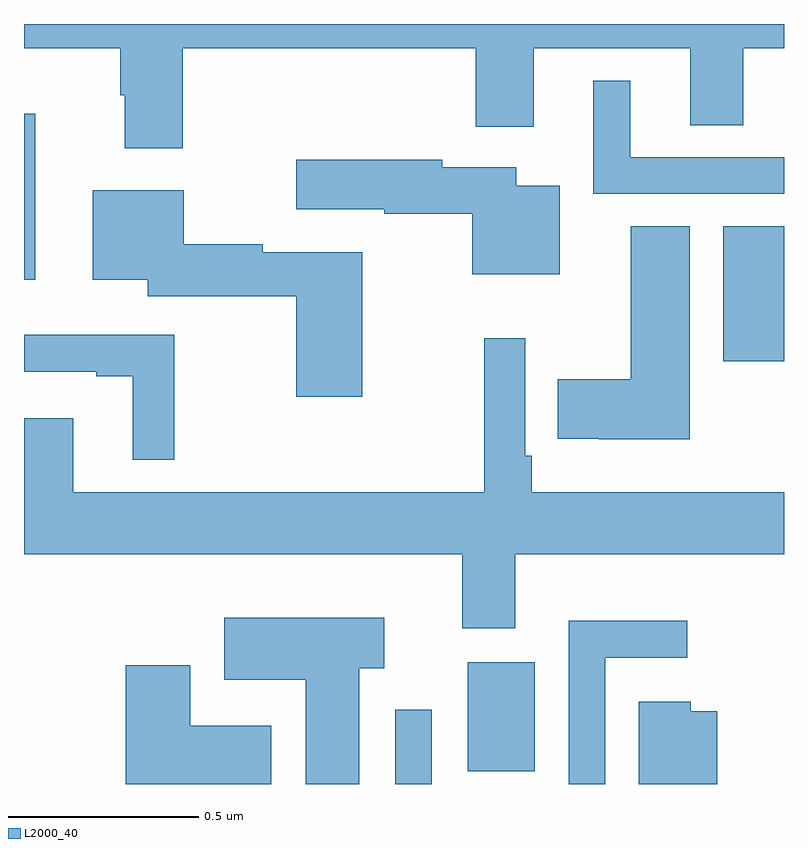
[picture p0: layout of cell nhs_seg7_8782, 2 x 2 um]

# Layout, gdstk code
import gdstk
lib = gdstk.Library(unit=1e-6, precision=1e-09)
def R(c, l, rs):  # rectangles x0, y0, x1, y1
    for r in rs: c.add(gdstk.rectangle(r[:2], r[2:], *l))
def P(c, l, *ps):  # polygons
    for p in ps: c.add(gdstk.Polygon(p, *l))
L2000_40 = (2000, 40)

nhs_seg7_8782 = lib.new_cell('nhs_seg7_8782')
R(nhs_seg7_8782, L2000_40, [(229.977,1012,230.073,1012.195), (230.168,1012.034,230.344,1012.321), (230.84,1013.112,231,1013.468), (229,1013.327,229.03,1013.764)])
P(nhs_seg7_8782, L2000_40, [(229.418,1013.936),(230.189,1013.936),(230.189,1013.73),(230.341,1013.73),(230.341,1013.936),(230.753,1013.936),(230.753,1013.734),(230.893,1013.734),(230.893,1013.936),(231,1013.936),(231,1014),(229,1014),(229,1013.936),(229.253,1013.936),(229.253,1013.813),(229.265,1013.813),(229.265,1013.673),(229.418,1013.673)],
  [(231,1013.649),(230.596,1013.649),(230.596,1013.851),(230.498,1013.851),(230.498,1013.553),(231,1013.553)],
  [(230.41,1013.575),(230.296,1013.575),(230.296,1013.623),(230.1,1013.623),(230.1,1013.643),(229.716,1013.643),(229.716,1013.513),(229.948,1013.513),(229.948,1013.501),(230.18,1013.501),(230.18,1013.342),(230.41,1013.342)],
  [(229.89,1013.4),(229.628,1013.4),(229.628,1013.42),(229.42,1013.42),(229.42,1013.563),(229.181,1013.563),(229.181,1013.327),(229.326,1013.327),(229.326,1013.284),(229.717,1013.284),(229.717,1013.019),(229.89,1013.019)],
  [(230.752,1013.468),(230.597,1013.468),(230.597,1013.065),(230.404,1013.065),(230.404,1012.908),(230.512,1012.908),(230.512,1012.907),(230.752,1012.907)],
  [(229.396,1013.182),(229,1013.182),(229,1013.085),(229.19,1013.085),(229.19,1013.073),(229.286,1013.073),(229.286,1012.853),(229.396,1012.853)],
  [(230.293,1012.604),(231,1012.604),(231,1012.768),(230.336,1012.768),(230.336,1012.864),(230.319,1012.864),(230.319,1013.173),(230.211,1013.173),(230.211,1012.768),(229.129,1012.768),(229.129,1012.963),(229,1012.963),(229,1012.604),(230.153,1012.604),(230.153,1012.41),(230.293,1012.41)],
  [(229.882,1012.304),(229.948,1012.304),(229.948,1012.438),(229.527,1012.438),(229.527,1012.274),(229.742,1012.274),(229.742,1012),(229.882,1012)],
  [(230.529,1012.332),(230.746,1012.332),(230.746,1012.429),(230.433,1012.429),(230.433,1012),(230.529,1012)],
  [(229.651,1012.153),(229.438,1012.153),(229.438,1012.312),(229.268,1012.312),(229.268,1012),(229.651,1012)],
  [(230.824,1012.192),(230.754,1012.192),(230.754,1012.216),(230.618,1012.216),(230.618,1012),(230.824,1012)])

lib.write_gds('nhs_seg7_8782.gds')
